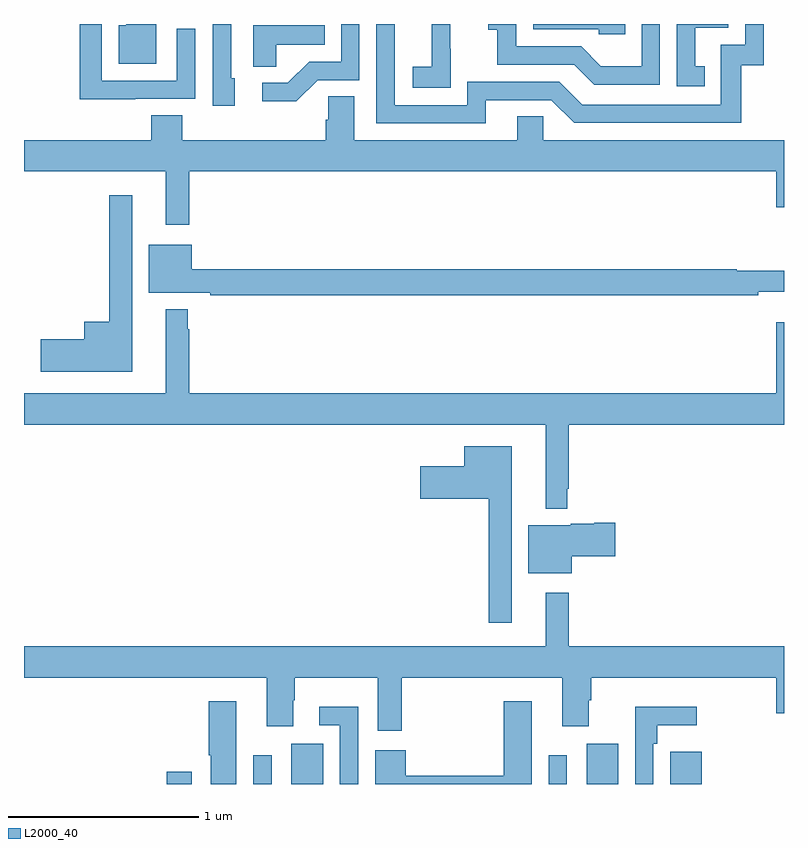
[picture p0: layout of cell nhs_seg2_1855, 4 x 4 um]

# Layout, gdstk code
import gdstk
lib = gdstk.Library(unit=1e-6, precision=1e-09)
def R(c, l, rs):  # rectangles x0, y0, x1, y1
    for r in rs: c.add(gdstk.rectangle(r[:2], r[2:], *l))
def P(c, l, *ps):  # polygons
    for p in ps: c.add(gdstk.Polygon(p, *l))
L2000_40 = (2000, 40)

nhs_seg2_1855 = lib.new_cell('nhs_seg2_1855')
R(nhs_seg2_1855, L2000_40, [(209.75,589.8,209.884,589.864), (210.207,589.8,210.303,589.951), (210.407,589.8,210.574,590.011), (211.761,589.8,211.857,589.951), (211.961,589.8,212.128,590.011), (212.402,589.8,212.566,589.969)])
P(nhs_seg2_1855, L2000_40, [(209.695,593.8),(209.537,593.8),(209.537,593.794),(209.498,593.794),(209.498,593.591),(209.695,593.591)],
  [(211.429,593.4),(211.776,593.4),(211.896,593.28),(212.776,593.28),(212.776,593.583),(212.894,593.583),(212.894,593.8),(212.796,593.8),(212.796,593.691),(212.667,593.691),(212.667,593.376),(211.938,593.376),(211.818,593.496),(211.332,593.496),(211.332,593.373),(210.951,593.373),(210.951,593.8),(210.855,593.8),(210.855,593.277),(211.429,593.277)],
  [(210.109,593.514),(210.09,593.514),(210.09,593.8),(209.994,593.8),(209.994,593.37),(210.109,593.37)],
  [(212.346,593.8),(212.25,593.8),(212.25,593.578),(212.036,593.578),(211.932,593.682),(211.59,593.682),(211.59,593.8),(211.443,593.8),(211.443,593.771),(211.492,593.771),(211.492,593.586),(211.895,593.586),(212,593.481),(212.346,593.481)],
  [(212.165,593.8),(211.68,593.8),(211.68,593.772),(212.025,593.772),(212.025,593.745),(212.165,593.745)],
  [(211.245,593.671),(211.244,593.671),(211.244,593.8),(211.145,593.8),(211.145,593.575),(211.047,593.575),(211.047,593.465),(211.245,593.465)],
  [(212.582,593.577),(212.533,593.577),(212.533,593.781),(212.706,593.781),(212.706,593.8),(212.436,593.8),(212.436,593.472),(212.582,593.472)],
  [(209.585,593.406),(209.901,593.406),(209.901,593.776),(209.805,593.776),(209.805,593.502),(209.409,593.502),(209.409,593.8),(209.293,593.8),(209.293,593.405),(209.585,593.405)],
  [(210.546,593.505),(210.765,593.505),(210.765,593.8),(210.669,593.8),(210.669,593.601),(210.5,593.601),(210.389,593.49),(210.255,593.49),(210.255,593.393),(210.433,593.393)],
  [(210.327,593.69),(210.584,593.69),(210.584,593.794),(210.206,593.794),(210.206,593.575),(210.327,593.575)],
  [(209.869,593.024),(212.96,593.024),(212.96,592.836),(213,592.836),(213,593.188),(211.734,593.188),(211.734,593.315),(211.595,593.315),(211.595,593.188),(210.739,593.188),(210.739,593.42),(210.6,593.42),(210.6,593.297),(210.587,593.297),(210.587,593.188),(209.834,593.188),(209.834,593.321),(209.669,593.321),(209.669,593.188),(209,593.188),(209,593.024),(209.747,593.024),(209.747,592.743),(209.869,592.743)],
  [(209.569,592.9),(209.448,592.9),(209.448,592.234),(209.318,592.234),(209.318,592.142),(209.088,592.142),(209.088,591.971),(209.569,591.971)],
  [(212.864,592.391),(213,592.391),(213,592.501),(212.752,592.501),(212.752,592.508),(209.884,592.508),(209.884,592.639),(209.657,592.639),(209.657,592.385),(209.98,592.385),(209.98,592.372),(212.864,592.372)],
  [(211.859,591.355),(211.867,591.355),(211.867,591.692),(213,591.692),(213,592.231),(212.96,592.231),(212.96,591.856),(209.869,591.856),(209.869,592.193),(209.862,592.193),(209.862,592.3),(209.747,592.3),(209.747,591.856),(209,591.856),(209,591.692),(211.745,591.692),(211.745,591.248),(211.859,591.248)],
  [(211.567,591.577),(211.316,591.577),(211.316,591.472),(211.086,591.472),(211.086,591.302),(211.446,591.302),(211.446,590.649),(211.567,590.649)],
  [(211.882,590.998),(212.113,590.998),(212.113,591.176),(212,591.176),(212,591.169),(211.878,591.169),(211.878,591.163),(211.655,591.163),(211.655,590.909),(211.882,590.909)],
  [(210.989,590.36),(211.832,590.36),(211.832,590.103),(211.972,590.103),(211.972,590.24),(211.985,590.24),(211.985,590.36),(212.96,590.36),(212.96,590.172),(213,590.172),(213,590.524),(211.867,590.524),(211.867,590.806),(211.745,590.806),(211.745,590.524),(209,590.524),(209,590.36),(210.278,590.36),(210.278,590.103),(210.418,590.103),(210.418,590.24),(210.426,590.24),(210.426,590.36),(210.863,590.36),(210.863,590.079),(210.989,590.079)],
  [(210.118,590.236),(209.972,590.236),(209.972,589.951),(209.984,589.951),(209.984,589.8),(210.118,589.8)],
  [(211.672,590.236),(211.526,590.236),(211.526,589.844),(211.01,589.844),(211.01,589.978),(210.848,589.978),(210.848,589.8),(211.672,589.8)],
  [(212.313,590.012),(212.333,590.012),(212.333,590.108),(212.542,590.108),(212.542,590.206),(212.217,590.206),(212.217,589.8),(212.313,589.8)],
  [(210.759,590.206),(210.555,590.206),(210.555,590.109),(210.663,590.109),(210.663,589.8),(210.759,589.8)])

lib.write_gds('nhs_seg2_1855.gds')
